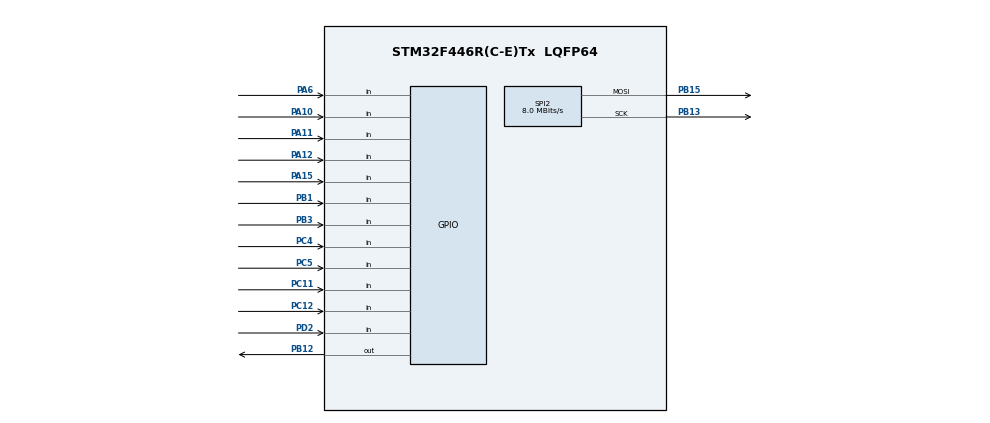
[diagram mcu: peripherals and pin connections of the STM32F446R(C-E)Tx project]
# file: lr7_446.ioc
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Mcu.Family=STM32F4
TIM10.Prescaler=159
Dma.SPI2_TX.0.MemInc=DMA_MINC_ENABLE
RCC.CortexFreq_Value=16000000
SPI2.VirtualType=VM_MASTER
PC11.Signal=GPIO_Input
PC12.Signal=GPIO_Input
PC4.Signal=GPIO_Input
NVIC.DMA1_Stream4_IRQn=true\:0\:0\:false\:false\:true\:false\:true
PB13.Signal=SPI2_SCK
PB15.Signal=SPI2_MOSI
Dma.SPI2_TX.0.Instance=DMA1_Stream4
ProjectManager.StackSize=0x400
Dma.SPI2_TX.0.MemDataAlignment=DMA_MDATAALIGN_BYTE
PA12.Signal=GPIO_Input
ProjectManager.TargetToolchain=STM32CubeIDE
VP_TIM10_VS_ClockSourceINT.Mode=Enable_Timer
RCC.USBFreq_Value=96000000
Dma.SPI2_TX.0.Mode=DMA_NORMAL
board=custom
RCC.VCOOutputFreq_Value=192000000
PB15.Mode=TX_Only_Simplex_Unidirect_Master
TIM10.Period=99
Dma.SPI2_TX.0.PeriphDataAlignment=DMA_PDATAALIGN_BYTE
SPI2.CalculateBaudRate=8.0 MBits/s
Mcu.Name=STM32F446R(C-E)Tx
Dma.SPI2_TX.0.FIFOMode=DMA_FIFOMODE_DISABLE
PB3.Signal=GPIO_Input
Dma.SPI2_TX.0.Priority=DMA_PRIORITY_LOW
Mcu.Package=LQFP64
PB1.Signal=GPIO_Input
PA6.Signal=GPIO_Input
SPI2.Mode=SPI_MODE_MASTER
PA11.Signal=GPIO_Input
PA10.Signal=GPIO_Input
PA15.Signal=GPIO_Input
ProjectManager.HeapSize=0x200
NVIC.TIM1_UP_TIM10_IRQn=true\:0\:0\:false\:false\:true\:true\:true
Dma.SPI2_TX.0.PeriphInc=DMA_PINC_DISABLE
NVIC.PriorityGroup=NVIC_PRIORITYGROUP_4
SPI2.Direction=SPI_DIRECTION_2LINES
PC5.Signal=GPIO_Input
PB13.Mode=TX_Only_Simplex_Unidirect_Master
PD2.Signal=GPIO_Input
Dma.SPI2_TX.0.Direction=DMA_MEMORY_TO_PERIPH
Dma.Request0=SPI2_TX
PB12.Signal=GPIO_Output

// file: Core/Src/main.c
/* USER CODE BEGIN Header */
/**
  ******************************************************************************
  * @file           : main.c
  * @brief          : Main program body
  ******************************************************************************
  * @attention
  *
  * <h2><center>&copy; Copyright (c) 2023 STMicroelectronics.
  * All rights reserved.</center></h2>
  *
  * This software component is licensed by ST under BSD 3-Clause license,
  * the "License"; You may not use this file except in compliance with the
  * License. You may obtain a copy of the License at:
  *                        opensource.org/licenses/BSD-3-Clause
  *
  ******************************************************************************
  */
/* USER CODE END Header */
#include "main.h"

SPI_HandleTypeDef hspi2;
DMA_HandleTypeDef hdma_spi2_tx;

TIM_HandleTypeDef htim10;

void SystemClock_Config(void);
static void MX_GPIO_Init(void);
static void MX_DMA_Init(void);
static void MX_SPI2_Init(void);
static void MX_TIM10_Init(void);

/* USER CODE BEGIN 0 */
int var = 125;
uint8_t spi_data[2];

int check_red_button() {
	static GPIO_PinState previous_red_status = GPIO_PIN_SET;
	GPIO_PinState current_red_status =  HAL_GPIO_ReadPin(GPIOC, GPIO_PIN_5);
	if (previous_red_status == GPIO_PIN_SET && current_red_status == GPIO_PIN_RESET) {
		previous_red_status = current_red_status;
		return 1;
	}
	previous_red_status = current_red_status;
	return 0;
}
/* USER CODE END 0 */

int main(void)
{

  /* MCU Configuration--------------------------------------------------------*/

  /* Reset of all peripherals, Initializes the Flash interface and the Systick. */
  HAL_Init();

  /* Configure the system clock */
  SystemClock_Config();

  /* Initialize all configured peripherals */
  MX_GPIO_Init();
  MX_DMA_Init();
  MX_SPI2_Init();
  MX_TIM10_Init();
  /* USER CODE BEGIN 2 */
  HAL_GPIO_WritePin(GPIOB, GPIO_PIN_12, GPIO_PIN_SET);
  HAL_TIM_Base_Start_IT(&htim10);

  spi_data[0] = 0;//255;//255;
  spi_data[1] = 0;//255;
  /* USER CODE END 2 */

  /* Infinite loop */
  /* USER CODE BEGIN WHILE */
  while (1)
  {
	  if (check_red_button()) var = var +11;
    /* USER CODE END WHILE */

  }
}

void SystemClock_Config(void)
{
  RCC_OscInitTypeDef RCC_OscInitStruct = {0};
  RCC_ClkInitTypeDef RCC_ClkInitStruct = {0};

  /** Configure the main internal regulator output voltage
  */
  __HAL_RCC_PWR_CLK_ENABLE();
  __HAL_PWR_VOLTAGESCALING_CONFIG(PWR_REGULATOR_VOLTAGE_SCALE3);
  /** Initializes the RCC Oscillators according to the specified parameters
  * in the RCC_OscInitTypeDef structure.
  */
  RCC_OscInitStruct.OscillatorType = RCC_OSCILLATORTYPE_HSI;
  RCC_OscInitStruct.HSIState = RCC_HSI_ON;
  RCC_OscInitStruct.HSICalibrationValue = RCC_HSICALIBRATION_DEFAULT;
  RCC_OscInitStruct.PLL.PLLState = RCC_PLL_NONE;
  if (HAL_RCC_OscConfig(&RCC_OscInitStruct) != HAL_OK)
  {
    Error_Handler();
  }
  /** Initializes the CPU, AHB and APB buses clocks
  */
  RCC_ClkInitStruct.ClockType = RCC_CLOCKTYPE_HCLK|RCC_CLOCKTYPE_SYSCLK
                              |RCC_CLOCKTYPE_PCLK1|RCC_CLOCKTYPE_PCLK2;
  RCC_ClkInitStruct.SYSCLKSource = RCC_SYSCLKSOURCE_HSI;
  RCC_ClkInitStruct.AHBCLKDivider = RCC_SYSCLK_DIV1;
  RCC_ClkInitStruct.APB1CLKDivider = RCC_HCLK_DIV1;
  RCC_ClkInitStruct.APB2CLKDivider = RCC_HCLK_DIV1;

  if (HAL_RCC_ClockConfig(&RCC_ClkInitStruct, FLASH_LATENCY_0) != HAL_OK)
  {
    Error_Handler();
  }
}

static void MX_SPI2_Init(void)
{

  /* SPI2 parameter configuration*/
  hspi2.Instance = SPI2;
  hspi2.Init.Mode = SPI_MODE_MASTER;
  hspi2.Init.Direction = SPI_DIRECTION_2LINES;
  hspi2.Init.DataSize = SPI_DATASIZE_8BIT;
  hspi2.Init.CLKPolarity = SPI_POLARITY_LOW;
  hspi2.Init.CLKPhase = SPI_PHASE_1EDGE;
  hspi2.Init.NSS = SPI_NSS_SOFT;
  hspi2.Init.BaudRatePrescaler = SPI_BAUDRATEPRESCALER_2;
  hspi2.Init.FirstBit = SPI_FIRSTBIT_MSB;
  hspi2.Init.TIMode = SPI_TIMODE_DISABLE;
  hspi2.Init.CRCCalculation = SPI_CRCCALCULATION_DISABLE;
  hspi2.Init.CRCPolynomial = 10;
  if (HAL_SPI_Init(&hspi2) != HAL_OK)
  {
    Error_Handler();
  }

}

static void MX_TIM10_Init(void)
{

  htim10.Instance = TIM10;
  htim10.Init.Prescaler = 159;
  htim10.Init.CounterMode = TIM_COUNTERMODE_UP;
  htim10.Init.Period = 99;
  htim10.Init.ClockDivision = TIM_CLOCKDIVISION_DIV1;
  htim10.Init.AutoReloadPreload = TIM_AUTORELOAD_PRELOAD_DISABLE;
  if (HAL_TIM_Base_Init(&htim10) != HAL_OK)
  {
    Error_Handler();
  }

}

static void MX_DMA_Init(void)
{

  /* DMA controller clock enable */
  __HAL_RCC_DMA1_CLK_ENABLE();

  /* DMA interrupt init */
  /* DMA1_Stream4_IRQn interrupt configuration */
  HAL_NVIC_SetPriority(DMA1_Stream4_IRQn, 0, 0);
  HAL_NVIC_EnableIRQ(DMA1_Stream4_IRQn);

}

static void MX_GPIO_Init(void)
{
  GPIO_InitTypeDef GPIO_InitStruct = {0};

  /* GPIO Ports Clock Enable */
  __HAL_RCC_GPIOA_CLK_ENABLE();
  __HAL_RCC_GPIOC_CLK_ENABLE();
  __HAL_RCC_GPIOB_CLK_ENABLE();
  __HAL_RCC_GPIOD_CLK_ENABLE();

  /*Configure GPIO pin Output Level */
  HAL_GPIO_WritePin(GPIOB, GPIO_PIN_12, GPIO_PIN_RESET);

  /*Configure GPIO pins : PA6 PA10 PA11 PA12
                           PA15 */
  GPIO_InitStruct.Pin = GPIO_PIN_6|GPIO_PIN_10|GPIO_PIN_11|GPIO_PIN_12
                          |GPIO_PIN_15;
  GPIO_InitStruct.Mode = GPIO_MODE_INPUT;
  GPIO_InitStruct.Pull = GPIO_NOPULL;
  HAL_GPIO_Init(GPIOA, &GPIO_InitStruct);

  /*Configure GPIO pins : PC4 PC5 PC11 PC12 */
  GPIO_InitStruct.Pin = GPIO_PIN_4|GPIO_PIN_5|GPIO_PIN_11|GPIO_PIN_12;
  GPIO_InitStruct.Mode = GPIO_MODE_INPUT;
  GPIO_InitStruct.Pull = GPIO_NOPULL;
  HAL_GPIO_Init(GPIOC, &GPIO_InitStruct);

  /*Configure GPIO pins : PB1 PB3 */
  GPIO_InitStruct.Pin = GPIO_PIN_1|GPIO_PIN_3;
  GPIO_InitStruct.Mode = GPIO_MODE_INPUT;
  GPIO_InitStruct.Pull = GPIO_NOPULL;
  HAL_GPIO_Init(GPIOB, &GPIO_InitStruct);

  /*Configure GPIO pin : PB12 */
  GPIO_InitStruct.Pin = GPIO_PIN_12;
  GPIO_InitStruct.Mode = GPIO_MODE_OUTPUT_PP;
  GPIO_InitStruct.Pull = GPIO_NOPULL;
  GPIO_InitStruct.Speed = GPIO_SPEED_FREQ_LOW;
  HAL_GPIO_Init(GPIOB, &GPIO_InitStruct);

  /*Configure GPIO pin : PD2 */
  GPIO_InitStruct.Pin = GPIO_PIN_2;
  GPIO_InitStruct.Mode = GPIO_MODE_INPUT;
  GPIO_InitStruct.Pull = GPIO_NOPULL;
  HAL_GPIO_Init(GPIOD, &GPIO_InitStruct);

}

/* USER CODE BEGIN 4 */
int i = 0;
int curr_dig;

void HAL_TIM_PeriodElapsedCallback(TIM_HandleTypeDef* htim)
{
	//++k;
	//HAL_GPIO_WritePin( NSS2_GPIO_Port, NSS2_Pin, GPIO_PIN_RESET );
	//var = var+1;

	//0x7E  ,0xBF ,0xDF, 0xEF
	uint8_t digit[4] = {0x7E, 0xBF ,0xDF, 0xEF};
	uint8_t number[10] = {0xC0, 0xF9, 0xA4, 0xB0, 0x99, 0x92, 0x02, 0xF8, 0x80, 0x90};

	i = (i+1) %4;

	curr_dig = var/ (int)pow(10,i) %10;
	spi_data[0] = number[curr_dig];
	spi_data[1] = digit[i];

	//0x7E  ,0xBF ,0xEF, 0xEF
	//0xC0 ,0x ,0x ,0x ,0x ,0x ,0x ,0x ,0x ,0x
	//spi_data[0] = 0xF9;
	//spi_data[1] = 0xDF;

	HAL_GPIO_WritePin(GPIOB, GPIO_PIN_12, GPIO_PIN_RESET);
	HAL_SPI_Transmit_DMA(&hspi2, spi_data, (uint16_t)sizeof(spi_data));
	//HAL_SPI_Transmit_DMA();
	HAL_GPIO_WritePin(GPIOB, GPIO_PIN_12, GPIO_PIN_SET);

}
/* USER CODE END 4 */

void Error_Handler(void)
{
  __disable_irq();
  while (1)
  {
  }
}

/************************ (C) COPYRIGHT STMicroelectronics *****END OF FILE****/
